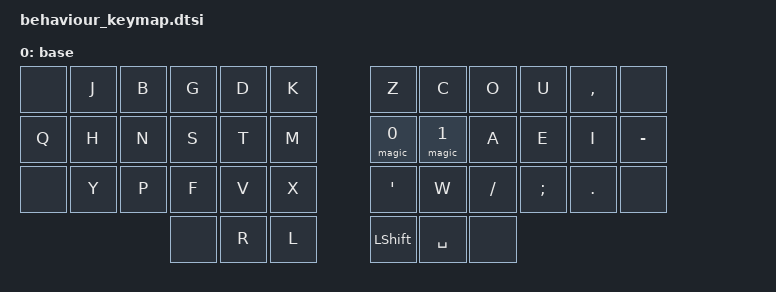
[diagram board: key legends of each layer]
#include <behaviors.dtsi>
#include <dt-bindings/zmk/keys.h>
#include <dt-bindings/zmk/kscan_mock.h>

/ {
  behaviors {
    magic: magic_keys {
      compatible = "zmk,behavior-magic-keys";
      #binding-cells = <1>;
      
      magic-rules = <
        A O
        G S
        H Y
        U E
        X T
        Y H
      >;
      
      skip-magic-rules = <
        A O
        B N
        D T
        F S
        G S
        H Y
        J Y
        K T
        L R
        M K
        O A
        P N
        Q E
        R L
        U E
        V T
        X T
        Y H
        COMMA I
        DOT I
        MINUS I
        SLASH A
        SEMI E
      >;
    };
  };
  
  keymap {
    compatible = "zmk,keymap";
    
    base {
      bindings = <
        &none &kp J &kp B &kp G &kp D &kp K   &kp Z      &kp C     &kp O     &kp U    &kp COMMA &none
        &kp Q &kp H &kp N &kp S &kp T &kp M   &magic 0   &magic 1  &kp A     &kp E    &kp I     &kp MINUS
        &none &kp Y &kp P &kp F &kp V &kp X   &kp SQT    &kp W     &kp SLASH &kp SEMI &kp DOT   &none
                          &none &kp R &kp L   &kp LSHIFT &kp SPACE &none
      >;
    };
  };
};

&kscan {
  rows = <4>;
  columns = <12>;
  exit-after;
};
